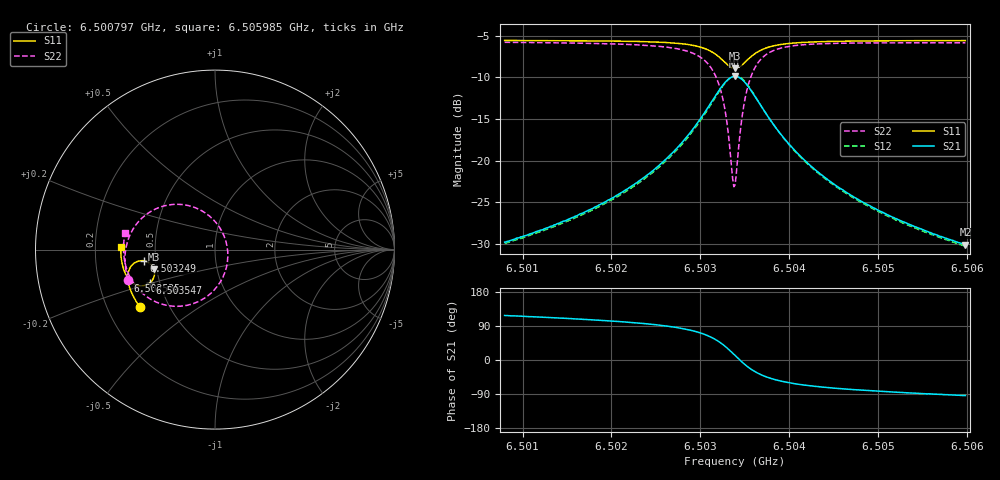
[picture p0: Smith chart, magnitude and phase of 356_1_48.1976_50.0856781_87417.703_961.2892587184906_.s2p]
#  HZ  S  RI  R  50.00
! Rohde & Schwarz Vector Network Analyzer
! Rohde-Schwarz,ZNB20-2Port,1311601062101988,3.16
! Created: UTC 3/20/2024, 11:51:59 AM
! freq[Hz]  re:S11  im:S11  re:S21  im:S21  re:S12  im:S12  re:S22  im:S22
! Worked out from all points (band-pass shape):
!   401 points, 6.500797 GHz to 6.505985 GHz, reference 50 ohm
!   highest |S21| = -9.87 dB at 6.503391 GHz (marker M1); lowest = -30.1 dB at 6.505985 GHz (marker M2)
!   |S21| within 3 dB of the highest: 6.503132 GHz to 6.503651 GHz (518.4 kHz wide, 0.00797 % of centre)
!   lowest |S11| = -8.9 dB at 6.503391 GHz (marker M3), VSWR 2.11, Z = 24.1 - j6.11 ohm
!   |S11| at or under -10 dB: nowhere
!   |S22| runs from -23.1 to -5.8 dB; largest |S21 - S12| = 0.011
!   S11 on the Smith chart (normalised r, x): 6.500797 GHz: 0.34, -0.30; 6.502535 GHz: 0.33, -0.15; 6.503249 GHz: 0.43, -0.06; 6.503547 GHz: 0.44, -0.20; 6.505985 GHz: 0.31, +0.01
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6.5007973e9  -0.4193 -0.3185  -0.0151 0.0288  -0.0135 0.0289  -0.4852 -0.1679
6.5016663e9  -0.4576 -0.2556  -0.0145 0.0461  -0.0123 0.0457  -0.5009 -0.078
6.5021462e9  -0.4751 -0.214  -0.012 0.0651  -0.00896 0.064  -0.4993 -0.012
6.5025353e9  -0.4849 -0.1721  -0.00316 0.0936  0.000293 0.0915  -0.4815 0.0628
6.5027947e9  -0.4847 -0.1353  0.0151 0.1277  0.0188 0.124  -0.4428 0.1351
6.5029763e9  -0.4736 -0.1023  0.0491 0.1634  0.0524 0.1581  -0.3758 0.2009
6.5031449e9  -0.4396 -0.0692  0.1253 0.1964  0.1266 0.1901  -0.236 0.2515
6.5032486e9  -0.3976 -0.0621  0.2091 0.1881  0.2096 0.1826  -0.0899 0.2248
6.5033005e9  -0.3728 -0.0704  0.2568 0.1607  0.2577 0.1561  -0.011 0.1687
6.5033654e9  -0.3465 -0.0961  0.3037 0.0987  0.3061 0.0936  0.0599 0.0494
6.5033913e9  -0.3402 -0.1105  0.3141 0.0671  0.317 0.0613  0.0708 -0.00904
6.5034043e9  -0.3383 -0.1178  0.3167 0.0508  0.3198 0.0444  0.0713 -0.0391
6.5034561e9  -0.3391 -0.1481  0.3114 -0.0135  0.3141 -0.0221  0.0444 -0.153
6.5034821e9  -0.3442 -0.1617  0.3005 -0.0419  0.3022 -0.0517  0.0157 -0.2008
6.5035469e9  -0.3648 -0.187  0.2589 -0.0951  0.2576 -0.1059  -0.0783 -0.282
6.5036507e9  -0.4034 -0.2017  0.186 -0.1306  0.1807 -0.1399  -0.2243 -0.3159
6.5038193e9  -0.4486 -0.1919  0.1062 -0.128  0.0995 -0.133  -0.3682 -0.2707
6.5040009e9  -0.4757 -0.1706  0.0627 -0.1089  0.0566 -0.111  -0.4388 -0.2071
6.5042603e9  -0.4962 -0.1407  0.0335 -0.0852  0.0286 -0.0858  -0.4815 -0.1362
6.5046105e9  -0.5106 -0.1044  0.016 -0.0647  0.0126 -0.0642  -0.5024 -0.0684
6.5051293e9  -0.5211 -0.0569  0.00491 -0.0467  0.00277 -0.046  -0.5096 0.00397
6.5059853e9  -0.5258 0.0152  -0.00213 -0.0313  -0.00331 -0.0306  -0.5013 0.0924
